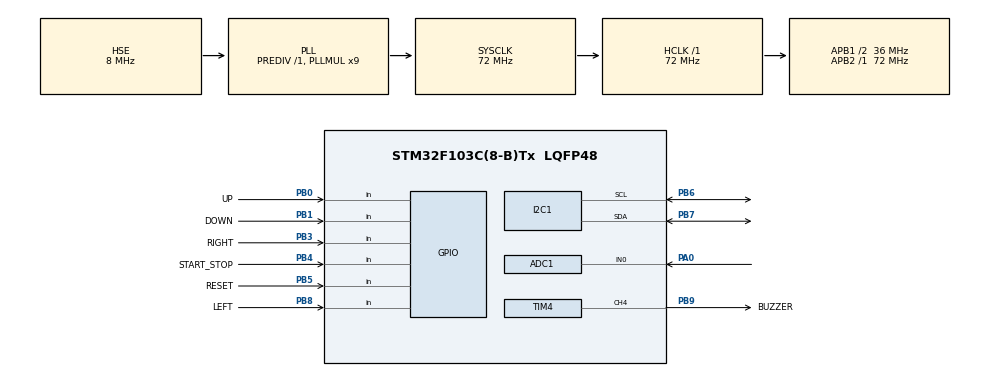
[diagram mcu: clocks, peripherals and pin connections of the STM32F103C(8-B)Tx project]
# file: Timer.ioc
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ADC1.Channel-1\#ChannelRegularConversion=ADC_CHANNEL_0
ADC1.NbrOfConversionFlag=1
ADC1.Rank-1\#ChannelRegularConversion=1
ADC1.SamplingTime-1\#ChannelRegularConversion=ADC_SAMPLETIME_1CYCLE_5
ADC1.master=1
Dma.ADC1.0.Direction=DMA_PERIPH_TO_MEMORY
Dma.ADC1.0.Instance=DMA1_Channel1
Dma.ADC1.0.MemDataAlignment=DMA_MDATAALIGN_HALFWORD
Dma.ADC1.0.MemInc=DMA_MINC_ENABLE
Dma.ADC1.0.Mode=DMA_NORMAL
Dma.ADC1.0.PeriphDataAlignment=DMA_PDATAALIGN_HALFWORD
Dma.ADC1.0.PeriphInc=DMA_PINC_DISABLE
Dma.ADC1.0.Priority=DMA_PRIORITY_LOW
Dma.Request0=ADC1
Mcu.Family=STM32F1
Mcu.Name=STM32F103C(8-B)Tx
Mcu.Package=LQFP48
NVIC.DMA1_Channel1_IRQn=true\:0\:0\:false\:false\:true\:false\:true\:true
NVIC.PriorityGroup=NVIC_PRIORITYGROUP_4
NVIC.TIM2_IRQn=true\:0\:0\:false\:false\:true\:true\:true\:true
PA0-WKUP.Signal=ADCx_IN0
PA13.Mode=Serial_Wire
PA13.Signal=SYS_JTMS-SWDIO
PA14.Mode=Serial_Wire
PA14.Signal=SYS_JTCK-SWCLK
PB0.GPIO_Label=UP
PB0.GPIO_PuPd=GPIO_PULLUP
PB0.Signal=GPIO_Input
PB1.GPIO_Label=DOWN
PB1.GPIO_PuPd=GPIO_PULLUP
PB1.Signal=GPIO_Input
PB3.GPIO_Label=RIGHT
PB3.GPIO_PuPd=GPIO_PULLUP
PB3.Signal=GPIO_Input
PB4.GPIO_Label=START_STOP
PB4.GPIO_PuPd=GPIO_PULLUP
PB4.Signal=GPIO_Input
PB5.GPIO_Label=RESET
PB5.GPIO_PuPd=GPIO_PULLUP
PB5.Signal=GPIO_Input
PB6.Mode=I2C
PB6.Signal=I2C1_SCL
PB7.Mode=I2C
PB7.Signal=I2C1_SDA
PB8.GPIO_Label=LEFT
PB8.GPIO_PuPd=GPIO_PULLUP
PB8.Signal=GPIO_Input
PB9.GPIO_Label=BUZZER
PB9.Signal=S_TIM4_CH4
PD0-OSC_IN.Mode=HSE-External-Oscillator
PD0-OSC_IN.Signal=RCC_OSC_IN
PD1-OSC_OUT.Mode=HSE-External-Oscillator
PD1-OSC_OUT.Signal=RCC_OSC_OUT
ProjectManager.HeapSize=0x200
ProjectManager.StackSize=0x400
ProjectManager.TargetToolchain=STM32CubeIDE
RCC.ADCPresc=RCC_ADCPCLK2_DIV6
RCC.AHBFreq_Value=72000000
RCC.APB1CLKDivider=RCC_HCLK_DIV2
RCC.APB1Freq_Value=36000000
RCC.APB1TimFreq_Value=72000000
RCC.APB2Freq_Value=72000000
RCC.APB2TimFreq_Value=72000000
RCC.HCLKFreq_Value=72000000
RCC.PLLMUL=RCC_PLL_MUL9
RCC.PLLSourceVirtual=RCC_PLLSOURCE_HSE
RCC.SYSCLKFreq_VALUE=72000000
RCC.SYSCLKSource=RCC_SYSCLKSOURCE_PLLCLK
RCC.USBFreq_Value=72000000
SH.ADCx_IN0.0=ADC1_IN0,IN0
SH.S_TIM4_CH4.0=TIM4_CH4,PWM Generation4 CH4
TIM2.Prescaler=1099
TIM4.AutoReloadPreload=TIM_AUTORELOAD_PRELOAD_ENABLE
TIM4.Channel-PWM\ Generation4\ CH4=TIM_CHANNEL_4
TIM4.Period=719
TIM4.Prescaler=99
VP_TIM2_VS_ClockSourceINT.Mode=Internal
VP_TIM4_VS_ClockSourceINT.Mode=Internal
board=custom

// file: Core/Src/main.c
/* USER CODE BEGIN Header */
/**
 ******************************************************************************
 * @file           : main.c
 * @brief          : Main program body
 ******************************************************************************
 * @attention
 *
 * Copyright (c) 2025 STMicroelectronics.
 * All rights reserved.
 *
 * This software is licensed under terms that can be found in the LICENSE file
 * in the root directory of this software component.
 * If no LICENSE file comes with this software, it is provided AS-IS.
 *
 ******************************************************************************
 */
/* USER CODE END Header */

#include "main.h"

/* USER CODE BEGIN Includes */
#include "buzzer.h"
#include "lcd1602_i2c.h"
#include "display.h"
#include "sht31.h"
#include "ds3231.h"
#include "buttons.h"
#include "filter.h"
#include "fee.h"
#include "timer.h"
#include "mq2.h"
#include "control.h"
/* USER CODE END Includes */

ADC_HandleTypeDef hadc1;
DMA_HandleTypeDef hdma_adc1;

I2C_HandleTypeDef hi2c1;

TIM_HandleTypeDef htim2;
TIM_HandleTypeDef htim4;

void SystemClock_Config(void);
static void MX_GPIO_Init(void);
static void MX_DMA_Init(void);
static void MX_I2C1_Init(void);
static void MX_TIM2_Init(void);
static void MX_ADC1_Init(void);
static void MX_TIM4_Init(void);

int main(void) {

	/* MCU Configuration--------------------------------------------------------*/

	/* Reset of all peripherals, Initializes the Flash interface and the Systick. */
	HAL_Init();

	/* Configure the system clock */
	SystemClock_Config();

	/* Initialize all configured peripherals */
	MX_GPIO_Init();
	MX_DMA_Init();
	MX_I2C1_Init();
	MX_TIM2_Init();
	MX_ADC1_Init();
	MX_TIM4_Init();
	/* USER CODE BEGIN 2 */
	lcd_init(LCD_ADDR, &hi2c1);
	sht31_init(&hi2c1);
	ds3231_init(&hi2c1);
	timer_init(&htim2);
	buzzer_init(&htim4);
	mq2_init(&hadc1);
	/* USER CODE END 2 */

	/* Infinite loop */
	while (1) {

		/* USER CODE BEGIN 3 */
		alarm_control();
		read_time();
		get_sensor_data();
		timer_control();
		display_update();
	}
	/* USER CODE END 3 */
}

void SystemClock_Config(void)
{
  RCC_OscInitTypeDef RCC_OscInitStruct = {0};
  RCC_ClkInitTypeDef RCC_ClkInitStruct = {0};
  RCC_PeriphCLKInitTypeDef PeriphClkInit = {0};

  /** Initializes the RCC Oscillators according to the specified parameters
  * in the RCC_OscInitTypeDef structure.
  */
  RCC_OscInitStruct.OscillatorType = RCC_OSCILLATORTYPE_HSE;
  RCC_OscInitStruct.HSEState = RCC_HSE_ON;
  RCC_OscInitStruct.HSEPredivValue = RCC_HSE_PREDIV_DIV1;
  RCC_OscInitStruct.HSIState = RCC_HSI_ON;
  RCC_OscInitStruct.PLL.PLLState = RCC_PLL_ON;
  RCC_OscInitStruct.PLL.PLLSource = RCC_PLLSOURCE_HSE;
  RCC_OscInitStruct.PLL.PLLMUL = RCC_PLL_MUL9;
  if (HAL_RCC_OscConfig(&RCC_OscInitStruct) != HAL_OK)
  {
    Error_Handler();
  }

  /** Initializes the CPU, AHB and APB buses clocks
  */
  RCC_ClkInitStruct.ClockType = RCC_CLOCKTYPE_HCLK|RCC_CLOCKTYPE_SYSCLK
                              |RCC_CLOCKTYPE_PCLK1|RCC_CLOCKTYPE_PCLK2;
  RCC_ClkInitStruct.SYSCLKSource = RCC_SYSCLKSOURCE_PLLCLK;
  RCC_ClkInitStruct.AHBCLKDivider = RCC_SYSCLK_DIV1;
  RCC_ClkInitStruct.APB1CLKDivider = RCC_HCLK_DIV2;
  RCC_ClkInitStruct.APB2CLKDivider = RCC_HCLK_DIV1;

  if (HAL_RCC_ClockConfig(&RCC_ClkInitStruct, FLASH_LATENCY_2) != HAL_OK)
  {
    Error_Handler();
  }
  PeriphClkInit.PeriphClockSelection = RCC_PERIPHCLK_ADC;
  PeriphClkInit.AdcClockSelection = RCC_ADCPCLK2_DIV6;
  if (HAL_RCCEx_PeriphCLKConfig(&PeriphClkInit) != HAL_OK)
  {
    Error_Handler();
  }
}

static void MX_ADC1_Init(void)
{

  ADC_ChannelConfTypeDef sConfig = {0};

  /** Common config
  */
  hadc1.Instance = ADC1;
  hadc1.Init.ScanConvMode = ADC_SCAN_DISABLE;
  hadc1.Init.ContinuousConvMode = DISABLE;
  hadc1.Init.DiscontinuousConvMode = DISABLE;
  hadc1.Init.ExternalTrigConv = ADC_SOFTWARE_START;
  hadc1.Init.DataAlign = ADC_DATAALIGN_RIGHT;
  hadc1.Init.NbrOfConversion = 1;
  if (HAL_ADC_Init(&hadc1) != HAL_OK)
  {
    Error_Handler();
  }

  /** Configure Regular Channel
  */
  sConfig.Channel = ADC_CHANNEL_0;
  sConfig.Rank = ADC_REGULAR_RANK_1;
  sConfig.SamplingTime = ADC_SAMPLETIME_1CYCLE_5;
  if (HAL_ADC_ConfigChannel(&hadc1, &sConfig) != HAL_OK)
  {
    Error_Handler();
  }

}

static void MX_I2C1_Init(void)
{

  hi2c1.Instance = I2C1;
  hi2c1.Init.ClockSpeed = 100000;
  hi2c1.Init.DutyCycle = I2C_DUTYCYCLE_2;
  hi2c1.Init.OwnAddress1 = 0;
  hi2c1.Init.AddressingMode = I2C_ADDRESSINGMODE_7BIT;
  hi2c1.Init.DualAddressMode = I2C_DUALADDRESS_DISABLE;
  hi2c1.Init.OwnAddress2 = 0;
  hi2c1.Init.GeneralCallMode = I2C_GENERALCALL_DISABLE;
  hi2c1.Init.NoStretchMode = I2C_NOSTRETCH_DISABLE;
  if (HAL_I2C_Init(&hi2c1) != HAL_OK)
  {
    Error_Handler();
  }

}

static void MX_TIM2_Init(void)
{

  TIM_ClockConfigTypeDef sClockSourceConfig = {0};
  TIM_MasterConfigTypeDef sMasterConfig = {0};

  htim2.Instance = TIM2;
  htim2.Init.Prescaler = 1099;
  htim2.Init.CounterMode = TIM_COUNTERMODE_UP;
  htim2.Init.Period = 65535;
  htim2.Init.ClockDivision = TIM_CLOCKDIVISION_DIV1;
  htim2.Init.AutoReloadPreload = TIM_AUTORELOAD_PRELOAD_DISABLE;
  if (HAL_TIM_Base_Init(&htim2) != HAL_OK)
  {
    Error_Handler();
  }
  sClockSourceConfig.ClockSource = TIM_CLOCKSOURCE_INTERNAL;
  if (HAL_TIM_ConfigClockSource(&htim2, &sClockSourceConfig) != HAL_OK)
  {
    Error_Handler();
  }
  sMasterConfig.MasterOutputTrigger = TIM_TRGO_RESET;
  sMasterConfig.MasterSlaveMode = TIM_MASTERSLAVEMODE_DISABLE;
  if (HAL_TIMEx_MasterConfigSynchronization(&htim2, &sMasterConfig) != HAL_OK)
  {
    Error_Handler();
  }

}

static void MX_TIM4_Init(void)
{

  TIM_ClockConfigTypeDef sClockSourceConfig = {0};
  TIM_MasterConfigTypeDef sMasterConfig = {0};
  TIM_OC_InitTypeDef sConfigOC = {0};

  htim4.Instance = TIM4;
  htim4.Init.Prescaler = 99;
  htim4.Init.CounterMode = TIM_COUNTERMODE_UP;
  htim4.Init.Period = 719;
  htim4.Init.ClockDivision = TIM_CLOCKDIVISION_DIV1;
  htim4.Init.AutoReloadPreload = TIM_AUTORELOAD_PRELOAD_ENABLE;
  if (HAL_TIM_Base_Init(&htim4) != HAL_OK)
  {
    Error_Handler();
  }
  sClockSourceConfig.ClockSource = TIM_CLOCKSOURCE_INTERNAL;
  if (HAL_TIM_ConfigClockSource(&htim4, &sClockSourceConfig) != HAL_OK)
  {
    Error_Handler();
  }
  if (HAL_TIM_PWM_Init(&htim4) != HAL_OK)
  {
    Error_Handler();
  }
  sMasterConfig.MasterOutputTrigger = TIM_TRGO_RESET;
  sMasterConfig.MasterSlaveMode = TIM_MASTERSLAVEMODE_DISABLE;
  if (HAL_TIMEx_MasterConfigSynchronization(&htim4, &sMasterConfig) != HAL_OK)
  {
    Error_Handler();
  }
  sConfigOC.OCMode = TIM_OCMODE_PWM1;
  sConfigOC.Pulse = 0;
  sConfigOC.OCPolarity = TIM_OCPOLARITY_HIGH;
  sConfigOC.OCFastMode = TIM_OCFAST_DISABLE;
  if (HAL_TIM_PWM_ConfigChannel(&htim4, &sConfigOC, TIM_CHANNEL_4) != HAL_OK)
  {
    Error_Handler();
  }
  HAL_TIM_MspPostInit(&htim4);

}

static void MX_DMA_Init(void)
{

  /* DMA controller clock enable */
  __HAL_RCC_DMA1_CLK_ENABLE();

  /* DMA interrupt init */
  /* DMA1_Channel1_IRQn interrupt configuration */
  HAL_NVIC_SetPriority(DMA1_Channel1_IRQn, 0, 0);
  HAL_NVIC_EnableIRQ(DMA1_Channel1_IRQn);

}

static void MX_GPIO_Init(void)
{
  GPIO_InitTypeDef GPIO_InitStruct = {0};

  /* GPIO Ports Clock Enable */
  __HAL_RCC_GPIOD_CLK_ENABLE();
  __HAL_RCC_GPIOA_CLK_ENABLE();
  __HAL_RCC_GPIOB_CLK_ENABLE();

  /*Configure GPIO pins : UP_Pin DOWN_Pin RIGHT_Pin START_STOP_Pin
                           RESET_Pin LEFT_Pin */
  GPIO_InitStruct.Pin = UP_Pin|DOWN_Pin|RIGHT_Pin|START_STOP_Pin
                          |RESET_Pin|LEFT_Pin;
  GPIO_InitStruct.Mode = GPIO_MODE_INPUT;
  GPIO_InitStruct.Pull = GPIO_PULLUP;
  HAL_GPIO_Init(GPIOB, &GPIO_InitStruct);

}

void Error_Handler(void)
{
  __disable_irq();
  while (1)
  {
  }
}
